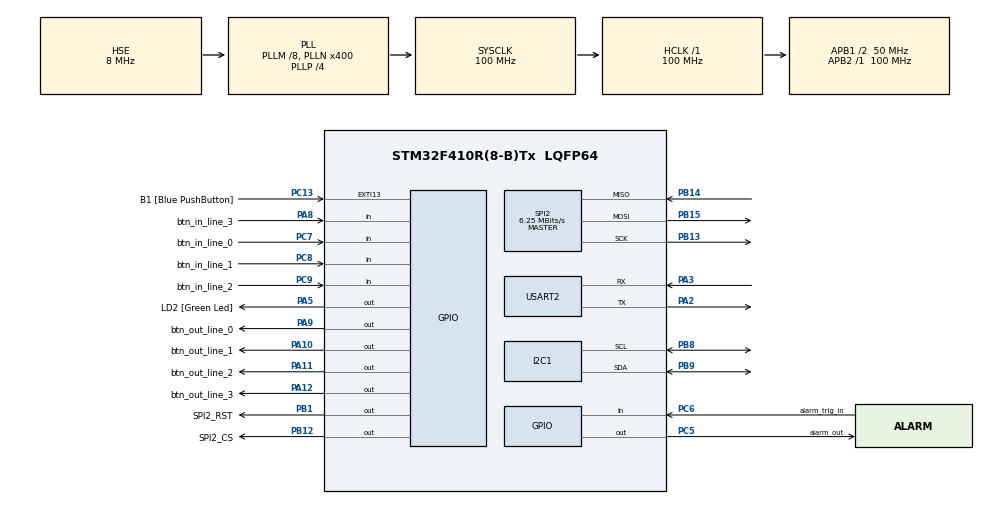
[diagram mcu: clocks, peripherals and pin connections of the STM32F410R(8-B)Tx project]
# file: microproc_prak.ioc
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Mcu.Family=STM32F4
Mcu.Name=STM32F410R(8-B)Tx
Mcu.Package=LQFP64
NVIC.PriorityGroup=NVIC_PRIORITYGROUP_0
NVIC.TIM1_BRK_TIM9_IRQn=true\:0\:0\:false\:false\:true\:true\:true\:true
NVIC.TIM5_IRQn=true\:0\:0\:false\:false\:true\:true\:true\:true
PA10.GPIO_Label=btn_out_line_1
PA10.Signal=GPIO_Output
PA11.GPIO_Label=btn_out_line_2
PA11.Signal=GPIO_Output
PA12.GPIO_Label=btn_out_line_3
PA12.Signal=GPIO_Output
PA13.GPIO_Label=TMS
PA13.Mode=Serial_Wire
PA13.Signal=SYS_JTMS-SWDIO
PA14.GPIO_Label=TCK
PA14.Mode=Serial_Wire
PA14.Signal=SYS_JTCK-SWCLK
PA2.Mode=Asynchronous
PA2.Signal=USART2_TX
PA3.Mode=Asynchronous
PA3.Signal=USART2_RX
PA5.GPIO_Label=LD2 [Green Led]
PA5.Signal=GPIO_Output
PA8.GPIO_Label=btn_in_line_3
PA8.Signal=GPIO_Input
PA9.GPIO_Label=btn_out_line_0
PA9.Signal=GPIO_Output
PB1.GPIO_Label=SPI2_RST
PB1.Signal=GPIO_Output
PB12.GPIO_Label=SPI2_CS
PB12.Signal=GPIO_Output
PB13.Mode=Full_Duplex_Master
PB13.Signal=SPI2_SCK
PB14.Mode=Full_Duplex_Master
PB14.Signal=SPI2_MISO
PB15.Mode=Full_Duplex_Master
PB15.Signal=SPI2_MOSI
PB3.GPIO_Label=SWO
PB3.Signal=SYS_JTDO-SWO
PB8.Mode=I2C
PB8.Signal=I2C1_SCL
PB9.Mode=I2C
PB9.Signal=I2C1_SDA
PC13-ANTI_TAMP.GPIO_Label=B1 [Blue PushButton]
PC13-ANTI_TAMP.GPIO_ModeDefaultEXTI=GPIO_MODE_IT_FALLING
PC13-ANTI_TAMP.Signal=GPXTI13
PC14-OSC32_IN.Mode=LSE-External-Oscillator
PC14-OSC32_IN.Signal=RCC_OSC32_IN
PC15-OSC32_OUT.Mode=LSE-External-Oscillator
PC15-OSC32_OUT.Signal=RCC_OSC32_OUT
PC5.GPIO_Label=alarm_out
PC5.GPIO_PuPd=GPIO_PULLDOWN
PC5.Signal=GPIO_Output
PC6.GPIO_Label=alarm_trig_in
PC6.GPIO_PuPd=GPIO_PULLDOWN
PC6.Signal=GPIO_Input
PC7.GPIO_Label=btn_in_line_0
PC7.Signal=GPIO_Input
PC8.GPIO_Label=btn_in_line_1
PC8.Signal=GPIO_Input
PC9.GPIO_Label=btn_in_line_2
PC9.Signal=GPIO_Input
PH0\ -\ OSC_IN.Mode=HSE-External-Clock-Source
PH0\ -\ OSC_IN.Signal=RCC_OSC_IN
PH1\ -\ OSC_OUT.Mode=HSE-External-Clock-Source
PH1\ -\ OSC_OUT.Signal=RCC_OSC_OUT
ProjectManager.HeapSize=0x200
ProjectManager.StackSize=0x400
ProjectManager.TargetToolchain=STM32CubeIDE
RCC.48MHZClocksFreq_Value=100000000
RCC.AHBFreq_Value=100000000
RCC.APB1CLKDivider=RCC_HCLK_DIV2
RCC.APB1Freq_Value=50000000
RCC.APB1TimFreq_Value=100000000
RCC.APB2Freq_Value=100000000
RCC.APB2TimFreq_Value=100000000
RCC.CortexFreq_Value=100000000
RCC.FLatency-AdvancedSettings=FLASH_LATENCY_3
RCC.HCLKFreq_Value=100000000
RCC.HSE_VALUE=8000000
RCC.HSI_VALUE=16000000
RCC.PLLM=8
RCC.PLLN=400
RCC.PLLP=RCC_PLLP_DIV4
RCC.PLLSourceVirtual=RCC_PLLSOURCE_HSE
RCC.SYSCLKFreq_VALUE=100000000
RCC.SYSCLKSource=RCC_SYSCLKSOURCE_PLLCLK
RCC.VCOOutputFreq_Value=400000000
SPI2.BaudRatePrescaler=SPI_BAUDRATEPRESCALER_8
SPI2.CalculateBaudRate=6.25 MBits/s
SPI2.Direction=SPI_DIRECTION_2LINES
SPI2.Mode=SPI_MODE_MASTER
SPI2.VirtualType=VM_MASTER
TIM5.AutoReloadPreload=TIM_AUTORELOAD_PRELOAD_ENABLE
TIM5.Period=10000
TIM5.Prescaler=100
TIM9.AutoReloadPreload=TIM_AUTORELOAD_PRELOAD_ENABLE
TIM9.Period=10000
TIM9.Prescaler=10000
USART2.VirtualMode=VM_ASYNC
VP_TIM5_VS_ClockSourceINT.Mode=Internal
VP_TIM9_VS_ClockSourceINT.Mode=Internal
board=NUCLEO-F410RB

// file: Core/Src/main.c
/* USER CODE BEGIN Header */
/**
  ******************************************************************************
  * @file           : main.c
  * @brief          : Main program body
  ******************************************************************************
  * @attention
  *
  * Copyright (c) 2022 STMicroelectronics.
  * All rights reserved.
  *
  * This software is licensed under terms that can be found in the LICENSE file
  * in the root directory of this software component.
  * If no LICENSE file comes with this software, it is provided AS-IS.
  *
  ******************************************************************************
  */
/* USER CODE END Header */
#include "main.h"

/* USER CODE BEGIN Includes */
#include "KEYPAD.h"
#include "icmp.h"
#include "enc28j60.h"
#include "ssd1306.h"
#include <stdio.h>
#include "ssd1306_fonts.h"
#include <string.h>
#include "ethernet.h"
/* USER CODE END Includes */

I2C_HandleTypeDef hi2c1;

SPI_HandleTypeDef hspi2;

TIM_HandleTypeDef htim5;
TIM_HandleTypeDef htim9;

UART_HandleTypeDef huart2;

/* USER CODE BEGIN PV */
int _write(int fd, char* ptr, int len) { // printf to uart
    HAL_UART_Transmit(&huart2, (uint8_t *) ptr, len, 300);
    return len;
}
/* USER CODE END PV */

void SystemClock_Config(void);
static void MX_GPIO_Init(void);
static void MX_USART2_UART_Init(void);
static void MX_SPI2_Init(void);
static void MX_TIM5_Init(void);
static void MX_I2C1_Init(void);
static void MX_TIM9_Init(void);

/* USER CODE BEGIN 0 */
const uint8_t eth_data[] = "alarm activated! someone is intruding the house!";
uint8_t ipAddr[IP_ADDRESS_BYTES_NUM] = {192, 168, 0, 2};
ENC28J60_Frame frame;
ETH_Frame eth_frame = {
		{0xff, 0xff, 0xff, 0xff, 0xff, 0xff},
		{0x00, 0x17, 0x22, 0xed, 0xa5, 0x01},
		0x2220,
		"alarm activated! someone is intruding the house!"
};

uint8_t send_eth_alarm_frame = 0;
uint8_t func_state = 0; // function chosen in main
uint8_t button_state[16] = {0, }; // button state array for keypad
uint8_t true_password[5] = {0, }; // true values array for keypad input (alarm password)
uint8_t input_password[5] = {0, }; // entered values array for keypad input
char char_input_password[5] = {'0', }; // entered values CHAR array for keypad input
uint8_t sec_cnt_activate = 0; // activate time counter
uint8_t sec_cnt_x = 0, sec_cnt_y = 0; // time output positions for LCD
uint16_t sec_cnt = 0; // time counter
uint8_t y = 0; // y position for LCD
uint8_t led_activate = 0; // activate led blinking
uint8_t sec_cnt_bias = 0; // bias for time counter indicate
const uint8_t default_input[5] = {10, }; // default values array for keypad input

void write_string_lcd(uint8_t str_x, uint8_t str_y, char *str);
uint8_t raw_btn_code();
uint8_t conv_btn_code();
void indicate_num(uint8_t num);
void password_input();
void set_password();
void alarm_activate();
void alarm_off();
void alarm_on();

void write_string_lcd(uint8_t str_x, uint8_t str_y, char *str) { // set cursor and write a string
	ssd1306_SetCursor(str_x, str_y);
	ssd1306_WriteString(str, Font_11x18, White);
}

uint8_t raw_btn_code() { // raw code for pressed keypad button
	uint8_t i_saved = 16;
	for(int i = 0; i < 16; i++) {
		if(button_state[i]) {
			HAL_Delay(50);
			if(button_state[i]) {
				i_saved = i;
				HAL_Delay(100);
			}
		}
	}
	return i_saved;
}

uint8_t conv_btn_code() { // converted code for pressed keypad button
	switch(raw_btn_code()) {
		case 0:  return 1;  // number 1
		case 1:  return 2;  // number 2
		case 2:  return 3;  // number 3
		case 3:  return 12; // function A
		case 4:  return 4;  // number 4
		case 5:  return 5;  // number 5
		case 6:  return 6;  // number 6
		case 7:  return 13; // function B
		case 8:  return 7;  // number 7
		case 9:  return 8;  // number 8
		case 10: return 9;  // number 9
		case 11: return 14; // function C
		case 12: return 11; // OK (input validation)
		case 13: return 0;  // number 0
		case 14: return 10; // <- (delete one input character)
		case 15: return 15; // function D
		default: return 16; // no key pressed
	}
}

void indicate_num(uint8_t num) { // number indicate for lcd (used for seconds displaying)
	char char_num[3] = {0, };
	sprintf(char_num, "%d", num);
	if(num < 10) {
		char_num[1] = char_num[0];
		char_num[0] = '0';
	}
	ssd1306_SetCursor(sec_cnt_x, sec_cnt_y);
	ssd1306_WriteString(char_num, Font_11x18, White);
	ssd1306_UpdateScreen();
}

void password_input() { // scan input password from keypad
	memcpy(input_password, default_input, 5); // erasing input
	uint8_t btn_code = 16;
	uint8_t input_cursor = 0;

	ssd1306_SetCursor(2, y);
	ssd1306_WriteString("-----", Font_11x18, White);
	ssd1306_UpdateScreen();

	while(!(input_cursor == 5 && btn_code == 11)) {
		btn_code = conv_btn_code();

		if(input_cursor < 5 && btn_code < 10) {
			input_password[input_cursor] = btn_code;
			char_input_password[input_cursor] = btn_code + '0';
			ssd1306_SetCursor(2 + input_cursor * 11, y);
			ssd1306_WriteChar('*', Font_11x18, White);
			ssd1306_UpdateScreen();
			input_cursor++;
		} else
		if(input_cursor > 0 && btn_code == 10) {
			input_cursor--;
			input_password[input_cursor] = 10;
			ssd1306_SetCursor(2 + input_cursor * 11, y);
			ssd1306_WriteChar('-', Font_11x18, White);
			ssd1306_UpdateScreen();
		} else
		if(sec_cnt > sec_cnt_bias && sec_cnt_activate) return;
	}
}

void set_password() { // function 0 - set/change password
	printf("setting new password\r\n");

	ssd1306_Fill(Black);
	y = 0;
	write_string_lcd(2, y, "Enter your");
	y += 18;
	write_string_lcd(2, y, "p-word(0-9)");
	y += 18;
	write_string_lcd(68, y, "OK/<-");

	password_input();
	memcpy(true_password, input_password, 5); // setting password

	y = 0;
	ssd1306_Fill(Black);
	write_string_lcd(2, y, "That's your");
	y += 18;
	write_string_lcd(2, y, "p-word");
	y += 18;
	write_string_lcd(2, y, char_input_password);
	write_string_lcd(68, y, "OK");
	ssd1306_UpdateScreen();
	printf("password is %s\r\n", char_input_password);

	while(conv_btn_code() != 11) {
		ssd1306_SetCursor(90, y);
		ssd1306_WriteString("---", Font_11x18, White);
		ssd1306_UpdateScreen();
		HAL_Delay(100);
		for(uint8_t i = 0; i < 3; i++) {
			ssd1306_SetCursor(90 + i * 11, y);
			ssd1306_WriteChar('>', Font_11x18, White);
			ssd1306_UpdateScreen();
			HAL_Delay(100);
		}
	}

	func_state = 1;
}

void alarm_off() { // function 1 - alarm is turned off
	printf("alarm is off\r\n");

	ssd1306_Fill(Black);
	y = 0;
	write_string_lcd(2, y, "ALARM OFF");
	y += 18;
	write_string_lcd(2, y, "alarm on:A");
	y += 18;
	write_string_lcd(2, y, "password:B");
	ssd1306_UpdateScreen();
	while(conv_btn_code() != 12) {
		if(conv_btn_code() == 13) {
			func_state = 0;
			return;
		}
	}
	ssd1306_Fill(Black);
	y = 0;
	write_string_lcd(2, y, "alarm on");
	y += 18;
	write_string_lcd(2, y, "after:");
	y += 18;
	write_string_lcd(2, y, "skip:OK");
	y -= 18;

	sec_cnt = 0;
	sec_cnt_activate = 1;
	sec_cnt_x = 68;
	sec_cnt_y = y;
	indicate_num(sec_cnt_bias);

	while(sec_cnt <= sec_cnt_bias && conv_btn_code() != 11) {}

	sec_cnt_activate = 0;
	func_state = 2;
}

void alarm_on() { // function 2 - alarm is turned on
	printf("alarm is on\r\n");
	ssd1306_Fill(Black);
	y = 0;
	write_string_lcd(2, y, "ALARM ON");
	y += 18;
	write_string_lcd(2, y, "alarm off:");
	y += 18;
	write_string_lcd(2, y, "any key");
	ssd1306_UpdateScreen();

	while(conv_btn_code() == 16) {
		if (!HAL_GPIO_ReadPin(alarm_trig_in_GPIO_Port, alarm_trig_in_Pin)) break;
	}

	ssd1306_Fill(Black);
	y = 0;
	write_string_lcd(2, y, "Enter");
	y += 18;
	write_string_lcd(2, y, "p-word(0-9)");
	y -= 18;
	write_string_lcd(68, y, "t:");

	sec_cnt = 0;
	sec_cnt_activate = 1;
	sec_cnt_x = 90;
	sec_cnt_y = y;
	indicate_num(sec_cnt_bias);

	y += 36;
	write_string_lcd(68, y, "OK/<-");

	while(sec_cnt <= sec_cnt_bias) {
		password_input();
		if(memcmp(input_password, true_password, 5) == 0) { // comparing input and password
			sec_cnt_activate = 0;
			func_state = 1;
			return;
		}
	}

	sec_cnt_activate = 0;
	func_state = 3;
}

void alarm_activate() { // function 3 - alarm is activated
	HAL_GPIO_WritePin(alarm_out_GPIO_Port, alarm_out_Pin, GPIO_PIN_SET);
	send_eth_alarm_frame = 1;
	printf("!!!ALARM ACTIVATED!!!\r\n");
	led_activate = 1;
	ssd1306_Fill(Black);
	y = 0;
	write_string_lcd(2, y, "---ALARM---");
	y += 18;
	write_string_lcd(2, y, "-ACTIVATED-");
	y += 18;
	write_string_lcd(40, y, "t:");
	ssd1306_UpdateScreen();

	sec_cnt_bias = 60;
	sec_cnt_x = 62;
	sec_cnt_y = y;
	indicate_num(sec_cnt_bias);
	sec_cnt = 0;
	sec_cnt_activate = 1;

	while(sec_cnt <= sec_cnt_bias);

	sec_cnt_activate = 0;
	led_activate = 0;
	sec_cnt_bias = 20;
	HAL_GPIO_WritePin(GPIOA, GPIO_PIN_5, GPIO_PIN_RESET);
	HAL_GPIO_WritePin(alarm_out_GPIO_Port, alarm_out_Pin, GPIO_PIN_RESET);
	send_eth_alarm_frame = 0;
	func_state = 2;
}

/* USER CODE END 0 */

int main(void)
{

  /* MCU Configuration--------------------------------------------------------*/

  /* Reset of all peripherals, Initializes the Flash interface and the Systick. */
  HAL_Init();

  /* Configure the system clock */
  SystemClock_Config();

  /* Initialize all configured peripherals */
  MX_GPIO_Init();
  MX_USART2_UART_Init();
  MX_SPI2_Init();
  MX_TIM5_Init();
  MX_I2C1_Init();
  MX_TIM9_Init();
  /* USER CODE BEGIN 2 */

  HAL_TIM_Base_Start_IT(&htim5);
  HAL_TIM_Base_Start_IT(&htim9);
  KEYPAD_Init(0, button_state);
  ENC28J60_Init();
  ssd1306_Init();
  ssd1306_Reset();

  printf("alarm system started\r\n");
  printf("ethernet frame length: %d\r\n", sizeof(eth_frame));
  ssd1306_Fill(Black);
  y = 10;
  write_string_lcd(11, y, "Welcome");
  write_string_lcd(93, y, "to");
  y = 30;
  write_string_lcd(0, y, "alarm");
  write_string_lcd(60, y, "system");
  ssd1306_UpdateScreen();
  while(conv_btn_code() == 16) {}
  sec_cnt_bias = 20;

//  memcpy(icmp_req.data, main, 48);

  /* USER CODE END 2 */

  /* Infinite loop */
  /* USER CODE BEGIN WHILE */
  while(1)
  {
	  switch(func_state) {
	  	  case 0: set_password(); break;
	  	  case 1: alarm_off(); break;
	  	  case 2: alarm_on(); break;
	  	  case 3: alarm_activate(); break;
	  }
  }
    /* USER CODE END WHILE */

}

void SystemClock_Config(void)
{
  RCC_OscInitTypeDef RCC_OscInitStruct = {0};
  RCC_ClkInitTypeDef RCC_ClkInitStruct = {0};

  /** Configure the main internal regulator output voltage
  */
  __HAL_RCC_PWR_CLK_ENABLE();
  __HAL_PWR_VOLTAGESCALING_CONFIG(PWR_REGULATOR_VOLTAGE_SCALE1);

  /** Initializes the RCC Oscillators according to the specified parameters
  * in the RCC_OscInitTypeDef structure.
  */
  RCC_OscInitStruct.OscillatorType = RCC_OSCILLATORTYPE_HSE;
  RCC_OscInitStruct.HSEState = RCC_HSE_BYPASS;
  RCC_OscInitStruct.PLL.PLLState = RCC_PLL_ON;
  RCC_OscInitStruct.PLL.PLLSource = RCC_PLLSOURCE_HSE;
  RCC_OscInitStruct.PLL.PLLM = 8;
  RCC_OscInitStruct.PLL.PLLN = 400;
  RCC_OscInitStruct.PLL.PLLP = RCC_PLLP_DIV4;
  RCC_OscInitStruct.PLL.PLLQ = 4;
  RCC_OscInitStruct.PLL.PLLR = 2;
  if (HAL_RCC_OscConfig(&RCC_OscInitStruct) != HAL_OK)
  {
    Error_Handler();
  }

  /** Initializes the CPU, AHB and APB buses clocks
  */
  RCC_ClkInitStruct.ClockType = RCC_CLOCKTYPE_HCLK|RCC_CLOCKTYPE_SYSCLK
                              |RCC_CLOCKTYPE_PCLK1|RCC_CLOCKTYPE_PCLK2;
  RCC_ClkInitStruct.SYSCLKSource = RCC_SYSCLKSOURCE_PLLCLK;
  RCC_ClkInitStruct.AHBCLKDivider = RCC_SYSCLK_DIV1;
  RCC_ClkInitStruct.APB1CLKDivider = RCC_HCLK_DIV2;
  RCC_ClkInitStruct.APB2CLKDivider = RCC_HCLK_DIV1;

  if (HAL_RCC_ClockConfig(&RCC_ClkInitStruct, FLASH_LATENCY_3) != HAL_OK)
  {
    Error_Handler();
  }
}

static void MX_I2C1_Init(void)
{

  hi2c1.Instance = I2C1;
  hi2c1.Init.ClockSpeed = 100000;
  hi2c1.Init.DutyCycle = I2C_DUTYCYCLE_2;
  hi2c1.Init.OwnAddress1 = 0;
  hi2c1.Init.AddressingMode = I2C_ADDRESSINGMODE_7BIT;
  hi2c1.Init.DualAddressMode = I2C_DUALADDRESS_DISABLE;
  hi2c1.Init.OwnAddress2 = 0;
  hi2c1.Init.GeneralCallMode = I2C_GENERALCALL_DISABLE;
  hi2c1.Init.NoStretchMode = I2C_NOSTRETCH_DISABLE;
  if (HAL_I2C_Init(&hi2c1) != HAL_OK)
  {
    Error_Handler();
  }

}

static void MX_SPI2_Init(void)
{

  /* SPI2 parameter configuration*/
  hspi2.Instance = SPI2;
  hspi2.Init.Mode = SPI_MODE_MASTER;
  hspi2.Init.Direction = SPI_DIRECTION_2LINES;
  hspi2.Init.DataSize = SPI_DATASIZE_8BIT;
  hspi2.Init.CLKPolarity = SPI_POLARITY_LOW;
  hspi2.Init.CLKPhase = SPI_PHASE_1EDGE;
  hspi2.Init.NSS = SPI_NSS_SOFT;
  hspi2.Init.BaudRatePrescaler = SPI_BAUDRATEPRESCALER_8;
  hspi2.Init.FirstBit = SPI_FIRSTBIT_MSB;
  hspi2.Init.TIMode = SPI_TIMODE_DISABLE;
  hspi2.Init.CRCCalculation = SPI_CRCCALCULATION_DISABLE;
  hspi2.Init.CRCPolynomial = 15;
  if (HAL_SPI_Init(&hspi2) != HAL_OK)
  {
    Error_Handler();
  }

}

static void MX_TIM5_Init(void)
{

  TIM_ClockConfigTypeDef sClockSourceConfig = {0};
  TIM_MasterConfigTypeDef sMasterConfig = {0};

  htim5.Instance = TIM5;
  htim5.Init.Prescaler = 100;
  htim5.Init.CounterMode = TIM_COUNTERMODE_UP;
  htim5.Init.Period = 10000;
  htim5.Init.ClockDivision = TIM_CLOCKDIVISION_DIV1;
  htim5.Init.AutoReloadPreload = TIM_AUTORELOAD_PRELOAD_ENABLE;
  if (HAL_TIM_Base_Init(&htim5) != HAL_OK)
  {
    Error_Handler();
  }
  sClockSourceConfig.ClockSource = TIM_CLOCKSOURCE_INTERNAL;
  if (HAL_TIM_ConfigClockSource(&htim5, &sClockSourceConfig) != HAL_OK)
  {
    Error_Handler();
  }
  sMasterConfig.MasterOutputTrigger = TIM_TRGO_RESET;
  sMasterConfig.MasterSlaveMode = TIM_MASTERSLAVEMODE_DISABLE;
  if (HAL_TIMEx_MasterConfigSynchronization(&htim5, &sMasterConfig) != HAL_OK)
  {
    Error_Handler();
  }

}

static void MX_TIM9_Init(void)
{

  TIM_ClockConfigTypeDef sClockSourceConfig = {0};

  htim9.Instance = TIM9;
  htim9.Init.Prescaler = 10000;
  htim9.Init.CounterMode = TIM_COUNTERMODE_UP;
  htim9.Init.Period = 10000;
  htim9.Init.ClockDivision = TIM_CLOCKDIVISION_DIV1;
  htim9.Init.AutoReloadPreload = TIM_AUTORELOAD_PRELOAD_ENABLE;
  if (HAL_TIM_Base_Init(&htim9) != HAL_OK)
  {
    Error_Handler();
  }
  sClockSourceConfig.ClockSource = TIM_CLOCKSOURCE_INTERNAL;
  if (HAL_TIM_ConfigClockSource(&htim9, &sClockSourceConfig) != HAL_OK)
  {
    Error_Handler();
  }

}

static void MX_USART2_UART_Init(void)
{

  huart2.Instance = USART2;
  huart2.Init.BaudRate = 115200;
  huart2.Init.WordLength = UART_WORDLENGTH_8B;
  huart2.Init.StopBits = UART_STOPBITS_1;
  huart2.Init.Parity = UART_PARITY_NONE;
  huart2.Init.Mode = UART_MODE_TX_RX;
  huart2.Init.HwFlowCtl = UART_HWCONTROL_NONE;
  huart2.Init.OverSampling = UART_OVERSAMPLING_16;
  if (HAL_UART_Init(&huart2) != HAL_OK)
  {
    Error_Handler();
  }

}

static void MX_GPIO_Init(void)
{
  GPIO_InitTypeDef GPIO_InitStruct = {0};

  /* GPIO Ports Clock Enable */
  __HAL_RCC_GPIOC_CLK_ENABLE();
  __HAL_RCC_GPIOH_CLK_ENABLE();
  __HAL_RCC_GPIOA_CLK_ENABLE();
  __HAL_RCC_GPIOB_CLK_ENABLE();

  /*Configure GPIO pin Output Level */
  HAL_GPIO_WritePin(GPIOA, LD2_Pin|btn_out_line_0_Pin|btn_out_line_1_Pin|btn_out_line_2_Pin
                          |btn_out_line_3_Pin, GPIO_PIN_RESET);

  /*Configure GPIO pin Output Level */
  HAL_GPIO_WritePin(alarm_out_GPIO_Port, alarm_out_Pin, GPIO_PIN_RESET);

  /*Configure GPIO pin Output Level */
  HAL_GPIO_WritePin(GPIOB, SPI2_RST_Pin|SPI2_CS_Pin, GPIO_PIN_RESET);

  /*Configure GPIO pin : B1_Pin */
  GPIO_InitStruct.Pin = B1_Pin;
  GPIO_InitStruct.Mode = GPIO_MODE_IT_FALLING;
  GPIO_InitStruct.Pull = GPIO_NOPULL;
  HAL_GPIO_Init(B1_GPIO_Port, &GPIO_InitStruct);

  /*Configure GPIO pins : LD2_Pin btn_out_line_0_Pin btn_out_line_1_Pin btn_out_line_2_Pin
                           btn_out_line_3_Pin */
  GPIO_InitStruct.Pin = LD2_Pin|btn_out_line_0_Pin|btn_out_line_1_Pin|btn_out_line_2_Pin
                          |btn_out_line_3_Pin;
  GPIO_InitStruct.Mode = GPIO_MODE_OUTPUT_PP;
  GPIO_InitStruct.Pull = GPIO_NOPULL;
  GPIO_InitStruct.Speed = GPIO_SPEED_FREQ_LOW;
  HAL_GPIO_Init(GPIOA, &GPIO_InitStruct);

  /*Configure GPIO pin : alarm_out_Pin */
  GPIO_InitStruct.Pin = alarm_out_Pin;
  GPIO_InitStruct.Mode = GPIO_MODE_OUTPUT_PP;
  GPIO_InitStruct.Pull = GPIO_PULLDOWN;
  GPIO_InitStruct.Speed = GPIO_SPEED_FREQ_LOW;
  HAL_GPIO_Init(alarm_out_GPIO_Port, &GPIO_InitStruct);

  /*Configure GPIO pins : SPI2_RST_Pin SPI2_CS_Pin */
  GPIO_InitStruct.Pin = SPI2_RST_Pin|SPI2_CS_Pin;
  GPIO_InitStruct.Mode = GPIO_MODE_OUTPUT_PP;
  GPIO_InitStruct.Pull = GPIO_NOPULL;
  GPIO_InitStruct.Speed = GPIO_SPEED_FREQ_LOW;
  HAL_GPIO_Init(GPIOB, &GPIO_InitStruct);

  /*Configure GPIO pin : alarm_trig_in_Pin */
  GPIO_InitStruct.Pin = alarm_trig_in_Pin;
  GPIO_InitStruct.Mode = GPIO_MODE_INPUT;
  GPIO_InitStruct.Pull = GPIO_PULLDOWN;
  HAL_GPIO_Init(alarm_trig_in_GPIO_Port, &GPIO_InitStruct);

  /*Configure GPIO pins : btn_in_line_0_Pin btn_in_line_1_Pin btn_in_line_2_Pin */
  GPIO_InitStruct.Pin = btn_in_line_0_Pin|btn_in_line_1_Pin|btn_in_line_2_Pin;
  GPIO_InitStruct.Mode = GPIO_MODE_INPUT;
  GPIO_InitStruct.Pull = GPIO_NOPULL;
  HAL_GPIO_Init(GPIOC, &GPIO_InitStruct);

  /*Configure GPIO pin : btn_in_line_3_Pin */
  GPIO_InitStruct.Pin = btn_in_line_3_Pin;
  GPIO_InitStruct.Mode = GPIO_MODE_INPUT;
  GPIO_InitStruct.Pull = GPIO_NOPULL;
  HAL_GPIO_Init(btn_in_line_3_GPIO_Port, &GPIO_InitStruct);

}

/* USER CODE BEGIN 4 */
void HAL_TIM_PeriodElapsedCallback(TIM_HandleTypeDef* htim) {
	if(htim->Instance == TIM5) {
		KEYPAD_Scan(0);
		ETH_Process(&frame);
	}
	if(htim->Instance == TIM9) {
		if(led_activate) {
			HAL_GPIO_TogglePin(GPIOA, GPIO_PIN_5);
		}
		if(sec_cnt_activate) {
			indicate_num(sec_cnt_bias - sec_cnt);
			sec_cnt++;
		}
		if(send_eth_alarm_frame) {
			ENC28J60_TransmitFrame((uint8_t*)&eth_frame, sizeof(ETH_Frame) + sizeof(eth_data));
		}
	}
}
/* USER CODE END 4 */

void Error_Handler(void)
{
  __disable_irq();
  while (1)
  {
  }
}
